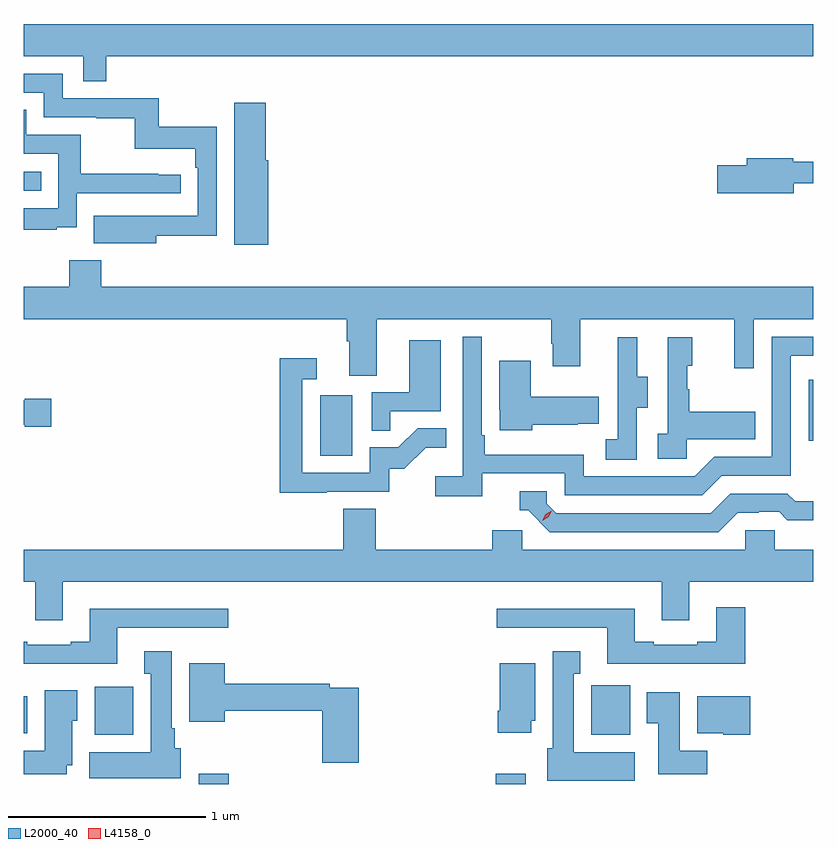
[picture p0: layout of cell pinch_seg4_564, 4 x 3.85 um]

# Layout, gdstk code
import gdstk
lib = gdstk.Library(unit=1e-6, precision=1e-09)
def R(c, l, rs):  # rectangles x0, y0, x1, y1
    for r in rs: c.add(gdstk.rectangle(r[:2], r[2:], *l))
def P(c, l, *ps):  # polygons
    for p in ps: c.add(gdstk.Polygon(p, *l))
L2000_40 = (2000, 40)
L4158_0 = (4158, 0)

pinch_seg4_564 = lib.new_cell('pinch_seg4_564')
R(pinch_seg4_564, L2000_40, [(1084.895,774.484,1085.048,774.535), (1086.401,774.484,1086.553,774.535), (1084.367,774.734,1084.564,774.976), (1086.885,774.734,1087.081,774.984), (1084.009,774.74,1084.027,774.928), (1085.51,776.148,1085.674,776.455), (1087.986,776.223,1088.009,776.532), (1084.009,777.492,1084.097,777.588)])
P(pinch_seg4_564, L2000_40, [(1084.427,778.172),(1088.009,778.172),(1088.009,778.336),(1084.009,778.336),(1084.009,778.172),(1084.311,778.172),(1084.311,778.045),(1084.427,778.045)],
  [(1084.681,777.262),(1084.986,777.262),(1084.986,777.814),(1084.693,777.814),(1084.693,777.96),(1084.206,777.96),(1084.206,778.083),(1084.009,778.083),(1084.009,777.987),(1084.11,777.987),(1084.11,777.864),(1084.375,777.864),(1084.375,777.859),(1084.572,777.859),(1084.572,777.704),(1084.877,777.704),(1084.877,777.608),(1084.89,777.608),(1084.89,777.363),(1084.577,777.363),(1084.577,777.364),(1084.363,777.364),(1084.363,777.224),(1084.681,777.224)],
  [(1085.248,777.645),(1085.236,777.645),(1085.236,777.937),(1085.075,777.937),(1085.075,777.216),(1085.248,777.216)],
  [(1084.175,777.305),(1084.278,777.305),(1084.278,777.477),(1084.804,777.477),(1084.804,777.573),(1084.691,777.573),(1084.691,777.578),(1084.298,777.578),(1084.298,777.774),(1084.021,777.774),(1084.021,777.902),(1084.009,777.902),(1084.009,777.678),(1084.182,777.678),(1084.182,777.402),(1084.009,777.402),(1084.009,777.294),(1084.175,777.294)],
  [(1087.912,777.528),(1088.009,777.528),(1088.009,777.637),(1087.908,777.637),(1087.908,777.656),(1087.673,777.656),(1087.673,777.62),(1087.524,777.62),(1087.524,777.478),(1087.912,777.478)],
  [(1085.797,776.84),(1086.682,776.84),(1086.682,776.716),(1086.689,776.716),(1086.689,776.601),(1086.829,776.601),(1086.829,776.84),(1087.61,776.84),(1087.61,776.592),(1087.707,776.592),(1087.707,776.84),(1088.009,776.84),(1088.009,777.004),(1084.4,777.004),(1084.4,777.139),(1084.24,777.139),(1084.24,777.004),(1084.009,777.004),(1084.009,776.84),(1085.645,776.84),(1085.645,776.728),(1085.657,776.728),(1085.657,776.554),(1085.797,776.554)],
  [(1086.332,776.058),(1086.75,776.058),(1086.75,775.947),(1087.447,775.947),(1087.546,776.046),(1087.896,776.046),(1087.896,776.655),(1088.009,776.655),(1088.009,776.751),(1087.8,776.751),(1087.8,776.142),(1087.509,776.142),(1087.41,776.043),(1086.846,776.043),(1086.846,776.154),(1086.344,776.154),(1086.344,776.251),(1086.33,776.251),(1086.33,776.752),(1086.234,776.752),(1086.234,776.044),(1086.093,776.044),(1086.093,775.942),(1086.332,775.942)],
  [(1087.116,776.392),(1087.171,776.392),(1087.171,776.547),(1087.117,776.547),(1087.117,776.749),(1087.019,776.749),(1087.019,776.535),(1087.02,776.535),(1087.02,776.231),(1086.957,776.231),(1086.957,776.128),(1087.116,776.128)],
  [(1087.368,776.231),(1087.715,776.231),(1087.715,776.371),(1087.381,776.371),(1087.381,776.486),(1087.371,776.486),(1087.371,776.604),(1087.396,776.604),(1087.396,776.749),(1087.272,776.749),(1087.272,776.258),(1087.221,776.258),(1087.221,776.133),(1087.368,776.133)],
  [(1085.867,776.373),(1086.121,776.373),(1086.121,776.734),(1085.963,776.734),(1085.963,776.469),(1085.772,776.469),(1085.772,776.275),(1085.867,776.275)],
  [(1085.543,775.965),(1085.862,775.965),(1085.862,776.082),(1085.938,776.082),(1086.045,776.189),(1086.149,776.189),(1086.149,776.288),(1086.005,776.288),(1085.907,776.19),(1085.763,776.19),(1085.763,776.061),(1085.421,776.061),(1085.421,776.535),(1085.494,776.535),(1085.494,776.641),(1085.305,776.641),(1085.305,775.96),(1085.543,775.96)],
  [(1086.585,776.306),(1086.815,776.306),(1086.815,776.309),(1086.923,776.309),(1086.923,776.446),(1086.577,776.446),(1086.577,776.629),(1086.419,776.629),(1086.419,776.38),(1086.42,776.38),(1086.42,776.277),(1086.585,776.277)],
  [(1084.147,776.436),(1084.014,776.436),(1084.014,776.428),(1084.009,776.428),(1084.009,776.306),(1084.014,776.306),(1084.014,776.294),(1084.147,776.294)],
  [(1087.627,775.86),(1087.734,775.86),(1087.734,775.863),(1087.837,775.863),(1087.879,775.821),(1088.009,775.821),(1088.009,775.917),(1087.918,775.917),(1087.879,775.956),(1087.59,775.956),(1087.491,775.857),(1086.708,775.857),(1086.66,775.905),(1086.66,775.968),(1086.521,775.968),(1086.521,775.872),(1086.564,775.872),(1086.675,775.761),(1087.528,775.761)],
  [(1084.207,775.508),(1087.241,775.508),(1087.241,775.314),(1087.381,775.314),(1087.381,775.508),(1088.009,775.508),(1088.009,775.672),(1087.815,775.672),(1087.815,775.77),(1087.665,775.77),(1087.665,775.672),(1086.534,775.672),(1086.534,775.77),(1086.383,775.77),(1086.383,775.672),(1085.792,775.672),(1085.792,775.88),(1085.627,775.88),(1085.627,775.672),(1084.009,775.672),(1084.009,775.508),(1084.067,775.508),(1084.067,775.314),(1084.207,775.314)],
  [(1087.665,775.381),(1087.517,775.381),(1087.517,775.204),(1087.421,775.204),(1087.421,775.191),(1087.201,775.191),(1087.201,775.204),(1087.105,775.204),(1087.105,775.372),(1086.405,775.372),(1086.405,775.275),(1086.965,775.275),(1086.965,775.094),(1087.665,775.094)],
  [(1084.483,775.275),(1085.044,775.275),(1085.044,775.372),(1084.343,775.372),(1084.343,775.204),(1084.247,775.204),(1084.247,775.191),(1084.027,775.191),(1084.027,775.204),(1084.009,775.204),(1084.009,775.094),(1084.483,775.094)],
  [(1087.105,774.646),(1086.796,774.646),(1086.796,775.043),(1086.829,775.043),(1086.829,775.156),(1086.689,775.156),(1086.689,774.666),(1086.662,774.666),(1086.662,774.5),(1087.105,774.5)],
  [(1084.804,774.666),(1084.774,774.666),(1084.774,774.766),(1084.759,774.766),(1084.759,775.156),(1084.619,775.156),(1084.619,775.043),(1084.652,775.043),(1084.652,774.646),(1084.34,774.646),(1084.34,774.512),(1084.804,774.512)],
  [(1085.705,774.972),(1085.558,774.972),(1085.558,774.992),(1085.026,774.992),(1085.026,775.096),(1084.847,775.096),(1084.847,774.8),(1085.026,774.8),(1085.026,774.856),(1085.522,774.856),(1085.522,774.591),(1085.705,774.591)],
  [(1086.58,774.804),(1086.601,774.804),(1086.601,775.096),(1086.422,775.096),(1086.422,774.856),(1086.41,774.856),(1086.41,774.744),(1086.58,774.744)],
  [(1084.225,774.578),(1084.255,774.578),(1084.255,774.804),(1084.279,774.804),(1084.279,774.958),(1084.115,774.958),(1084.115,774.652),(1084.009,774.652),(1084.009,774.534),(1084.225,774.534)],
  [(1087.472,774.652),(1087.333,774.652),(1087.333,774.949),(1087.166,774.949),(1087.166,774.793),(1087.223,774.793),(1087.223,774.534),(1087.472,774.534)],
  [(1087.69,774.928),(1087.421,774.928),(1087.421,774.74),(1087.554,774.74),(1087.554,774.734),(1087.69,774.734)])
P(pinch_seg4_564, L4158_0, [(1086.637,775.818),(1086.637,775.819),(1086.654,775.851),(1086.685,775.87),(1086.685,775.87),(1086.685,775.87),(1086.668,775.838),(1086.637,775.818)])

lib.write_gds('pinch_seg4_564.gds')
